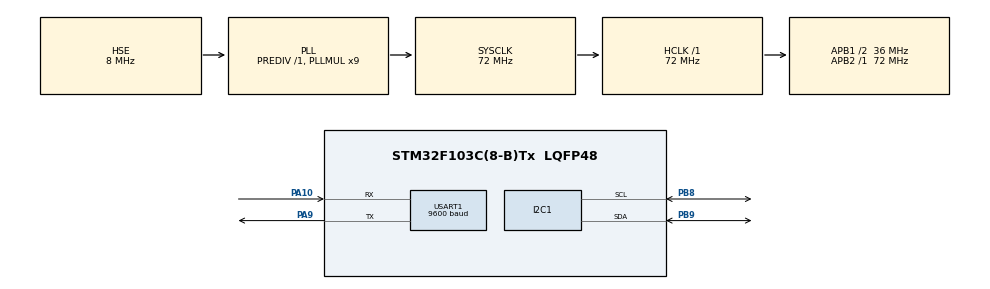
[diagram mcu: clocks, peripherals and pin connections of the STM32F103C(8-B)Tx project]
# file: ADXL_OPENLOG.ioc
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I2C1.I2C_Mode=I2C_Standard
I2C1.OwnAddress=0x53
Mcu.Family=STM32F1
Mcu.Name=STM32F103C(8-B)Tx
Mcu.Package=LQFP48
NVIC.PriorityGroup=NVIC_PRIORITYGROUP_4
PA10.Mode=Asynchronous
PA10.Signal=USART1_RX
PA13.Mode=Serial_Wire
PA13.Signal=SYS_JTMS-SWDIO
PA14.Mode=Serial_Wire
PA14.Signal=SYS_JTCK-SWCLK
PA9.Mode=Asynchronous
PA9.Signal=USART1_TX
PB8.Mode=I2C
PB8.Signal=I2C1_SCL
PB9.Mode=I2C
PB9.Signal=I2C1_SDA
PD0-OSC_IN.Mode=HSE-External-Oscillator
PD0-OSC_IN.Signal=RCC_OSC_IN
PD1-OSC_OUT.Mode=HSE-External-Oscillator
PD1-OSC_OUT.Signal=RCC_OSC_OUT
ProjectManager.HeapSize=0x200
ProjectManager.StackSize=0x400
ProjectManager.TargetToolchain=SW4STM32
RCC.AHBFreq_Value=72000000
RCC.APB1CLKDivider=RCC_HCLK_DIV2
RCC.APB1Freq_Value=36000000
RCC.APB1TimFreq_Value=72000000
RCC.APB2Freq_Value=72000000
RCC.APB2TimFreq_Value=72000000
RCC.HCLKFreq_Value=72000000
RCC.PLLMUL=RCC_PLL_MUL9
RCC.PLLSourceVirtual=RCC_PLLSOURCE_HSE
RCC.SYSCLKFreq_VALUE=72000000
RCC.SYSCLKSource=RCC_SYSCLKSOURCE_PLLCLK
RCC.USBFreq_Value=48000000
RCC.USBPrescaler=RCC_USBCLKSOURCE_PLL_DIV1_5
USART1.BaudRate=9600
USART1.VirtualMode=VM_ASYNC
board=custom

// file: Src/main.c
/* USER CODE BEGIN Header */
/**
  ******************************************************************************
  * @file           : main.c
  * @brief          : Main program body
  ******************************************************************************
  ** This notice applies to any and all portions of this file
  * that are not between comment pairs USER CODE BEGIN and
  * USER CODE END. Other portions of this file, whether
  * inserted by the user or by software development tools
  * are owned by their respective copyright owners.
  *
  * COPYRIGHT(c) 2019 STMicroelectronics
  *
  * Redistribution and use in source and binary forms, with or without modification,
  * are permitted provided that the following conditions are met:
  *   1. Redistributions of source code must retain the above copyright notice,
  *      this list of conditions and the following disclaimer.
  *   2. Redistributions in binary form must reproduce the above copyright notice,
  *      this list of conditions and the following disclaimer in the documentation
  *      and/or other materials provided with the distribution.
  *   3. Neither the name of STMicroelectronics nor the names of its contributors
  *      may be used to endorse or promote products derived from this software
  *      without specific prior written permission.
  *
  * THIS SOFTWARE IS PROVIDED BY THE COPYRIGHT HOLDERS AND CONTRIBUTORS "AS IS"
  * AND ANY EXPRESS OR IMPLIED WARRANTIES, INCLUDING, BUT NOT LIMITED TO, THE
  * IMPLIED WARRANTIES OF MERCHANTABILITY AND FITNESS FOR A PARTICULAR PURPOSE ARE
  * DISCLAIMED. IN NO EVENT SHALL THE COPYRIGHT HOLDER OR CONTRIBUTORS BE LIABLE
  * FOR ANY DIRECT, INDIRECT, INCIDENTAL, SPECIAL, EXEMPLARY, OR CONSEQUENTIAL
  * DAMAGES (INCLUDING, BUT NOT LIMITED TO, PROCUREMENT OF SUBSTITUTE GOODS OR
  * SERVICES; LOSS OF USE, DATA, OR PROFITS; OR BUSINESS INTERRUPTION) HOWEVER
  * CAUSED AND ON ANY THEORY OF LIABILITY, WHETHER IN CONTRACT, STRICT LIABILITY,
  * OR TORT (INCLUDING NEGLIGENCE OR OTHERWISE) ARISING IN ANY WAY OUT OF THE USE
  * OF THIS SOFTWARE, EVEN IF ADVISED OF THE POSSIBILITY OF SUCH DAMAGE.
  *
  ******************************************************************************
  */
/* USER CODE END Header */

#include "main.h"

/* USER CODE BEGIN Includes */
#include "string.h"
/* USER CODE END Includes */

/* USER CODE BEGIN PD */
#define SAMPLE_TIME 1000

/* USER CODE END PD */

I2C_HandleTypeDef hi2c1;

UART_HandleTypeDef huart1;

void SystemClock_Config(void);
static void MX_GPIO_Init(void);
static void MX_I2C1_Init(void);
static void MX_USART1_UART_Init(void);

/* USER CODE BEGIN PFP */

uint8_t data_rec[6];
uint8_t chipid;

int16_t x_raw, y_raw, z_raw;
float x_scaled, y_scaled, z_scaled;
//float x_scaledf, y_scaledf, z_scaledf;

uint8_t ADXL_OK; //to identify possible errors in communication with ADXL module

void adxl_write(uint8_t reg, uint8_t value){ //write data to specified register of peripheral device
	uint8_t data[2];
	data[0] = reg;
	data[1] = value;
	HAL_I2C_Master_Transmit(&hi2c1, hi2c1.Init.OwnAddress1, data, 2, 10); // (I2C_HandleTypeDef * hi2c, uint16_t DevAddress, uint8_t * pData, uint16_t Size, uint32_t Timeout)
}

/* Read all at once
//void adxl_read_values (uint8_t reg)
//{
//	HAL_I2C_Mem_Read (&hi2c1, hi2c1.Init.OwnAddress1, reg, 1, (uint8_t *)data_rec, 6, 100);
//}
*/

void adxl_read_x (uint8_t reg)
{
	HAL_I2C_Mem_Read (&hi2c1, hi2c1.Init.OwnAddress1, reg, 1, (uint8_t *)data_rec, 2, 100);
}

void adxl_read_y (uint8_t reg)
{
	HAL_I2C_Mem_Read (&hi2c1, hi2c1.Init.OwnAddress1, reg, 1, (uint8_t *)data_rec, 2, 100);
}

void adxl_read_z (uint8_t reg)
{
	HAL_I2C_Mem_Read (&hi2c1, hi2c1.Init.OwnAddress1, reg, 1, (uint8_t *)data_rec, 2, 100);
}

void adxl_read_address (uint8_t reg)
{
	HAL_I2C_Mem_Read (&hi2c1, hi2c1.Init.OwnAddress1, reg, 1, &chipid, 1, 100);
}

void adxl_init(){ //initialization function
	ADXL_OK = 0;

	HAL_Delay(500);
	if (HAL_I2C_IsDeviceReady(&hi2c1, hi2c1.Init.OwnAddress1, 3, 1000) != HAL_OK){ //tries initialization for 3 times during 1s each
		ADXL_OK = 0x01;
		Error_Handler(); //peripheral not initialized
	}
	else{
		adxl_read_address(0x00);  //must read a fixed value of 0xE5
		ADXL_OK = 0x02;
		if (chipid != 0xE5){ //device not working properly
			Error_Handler();
		}
		else{
			//initial device configuration
			adxl_write(0x2D, 0); //reset all POWER_CTL bits
			adxl_write(0x2D, 0x08); //writes 1000 (measure-bit set to 1)
			adxl_write(0X31, 0X00); // +- 2g range
		}
	}
}

void read_axis_values(void){
	adxl_read_x(0x32); 				//read from registers 0x32 to 0x37
	// raw values
	x_raw = (data_rec[1] << 8) | data_rec[0]; //shifting of Most Significant Byte and concatenation with Least Significant Byte

	adxl_read_y(0x34);
	y_raw = (data_rec[1] << 8) | data_rec[0];

	adxl_read_z(0x36);
	z_raw = (data_rec[1] << 8) | data_rec[0];

	// values conversion into g`s
	x_scaled = x_raw*0.0039;				//multiplication by scale factor, readings in g
	y_scaled = y_raw*0.0039;
	z_scaled = z_raw*0.0039;
}

void write_to_sd(){
	char buffer[50];
	sprintf(buffer, "%.2f, %.2f, %.2f\r\n", x_scaled, y_scaled, z_scaled);
	HAL_UART_Transmit(&huart1, (uint8_t *)buffer, strlen(buffer), 100);
}

/* USER CODE END PFP */

int main(void)
{

  /* MCU Configuration--------------------------------------------------------*/

  /* Reset of all peripherals, Initializes the Flash interface and the Systick. */
  HAL_Init();

  /* Configure the system clock */
  SystemClock_Config();

  /* Initialize all configured peripherals */
  MX_GPIO_Init();
  MX_I2C1_Init();
  MX_USART1_UART_Init();
  /* USER CODE BEGIN 2 */

  adxl_init();

  /* USER CODE END 2 */

  /* Infinite loop */
  while (1)
  {

    /* USER CODE BEGIN 3 */
	read_axis_values(); //read and scale values
	write_to_sd();
	HAL_Delay(SAMPLE_TIME);
  }
  /* USER CODE END 3 */
}

void SystemClock_Config(void)
{
  RCC_OscInitTypeDef RCC_OscInitStruct = {0};
  RCC_ClkInitTypeDef RCC_ClkInitStruct = {0};

  /**Initializes the CPU, AHB and APB busses clocks
  */
  RCC_OscInitStruct.OscillatorType = RCC_OSCILLATORTYPE_HSE;
  RCC_OscInitStruct.HSEState = RCC_HSE_ON;
  RCC_OscInitStruct.HSEPredivValue = RCC_HSE_PREDIV_DIV1;
  RCC_OscInitStruct.HSIState = RCC_HSI_ON;
  RCC_OscInitStruct.PLL.PLLState = RCC_PLL_ON;
  RCC_OscInitStruct.PLL.PLLSource = RCC_PLLSOURCE_HSE;
  RCC_OscInitStruct.PLL.PLLMUL = RCC_PLL_MUL9;
  if (HAL_RCC_OscConfig(&RCC_OscInitStruct) != HAL_OK)
  {
    Error_Handler();
  }
  /**Initializes the CPU, AHB and APB busses clocks
  */
  RCC_ClkInitStruct.ClockType = RCC_CLOCKTYPE_HCLK|RCC_CLOCKTYPE_SYSCLK
                              |RCC_CLOCKTYPE_PCLK1|RCC_CLOCKTYPE_PCLK2;
  RCC_ClkInitStruct.SYSCLKSource = RCC_SYSCLKSOURCE_PLLCLK;
  RCC_ClkInitStruct.AHBCLKDivider = RCC_SYSCLK_DIV1;
  RCC_ClkInitStruct.APB1CLKDivider = RCC_HCLK_DIV2;
  RCC_ClkInitStruct.APB2CLKDivider = RCC_HCLK_DIV1;

  if (HAL_RCC_ClockConfig(&RCC_ClkInitStruct, FLASH_LATENCY_2) != HAL_OK)
  {
    Error_Handler();
  }
}

static void MX_I2C1_Init(void)
{

  hi2c1.Instance = I2C1;
  hi2c1.Init.ClockSpeed = 100000;
  hi2c1.Init.DutyCycle = I2C_DUTYCYCLE_2;
  hi2c1.Init.OwnAddress1 = 166;
  hi2c1.Init.AddressingMode = I2C_ADDRESSINGMODE_7BIT;
  hi2c1.Init.DualAddressMode = I2C_DUALADDRESS_DISABLE;
  hi2c1.Init.OwnAddress2 = 0;
  hi2c1.Init.GeneralCallMode = I2C_GENERALCALL_DISABLE;
  hi2c1.Init.NoStretchMode = I2C_NOSTRETCH_DISABLE;
  if (HAL_I2C_Init(&hi2c1) != HAL_OK)
  {
    Error_Handler();
  }

}

static void MX_USART1_UART_Init(void)
{

  huart1.Instance = USART1;
  huart1.Init.BaudRate = 9600;
  huart1.Init.WordLength = UART_WORDLENGTH_8B;
  huart1.Init.StopBits = UART_STOPBITS_1;
  huart1.Init.Parity = UART_PARITY_NONE;
  huart1.Init.Mode = UART_MODE_TX_RX;
  huart1.Init.HwFlowCtl = UART_HWCONTROL_NONE;
  huart1.Init.OverSampling = UART_OVERSAMPLING_16;
  if (HAL_UART_Init(&huart1) != HAL_OK)
  {
    Error_Handler();
  }

}

static void MX_GPIO_Init(void)
{

  /* GPIO Ports Clock Enable */
  __HAL_RCC_GPIOD_CLK_ENABLE();
  __HAL_RCC_GPIOA_CLK_ENABLE();
  __HAL_RCC_GPIOB_CLK_ENABLE();

}

void Error_Handler(void)
{
}

/************************ (C) COPYRIGHT STMicroelectronics *****END OF FILE****/
